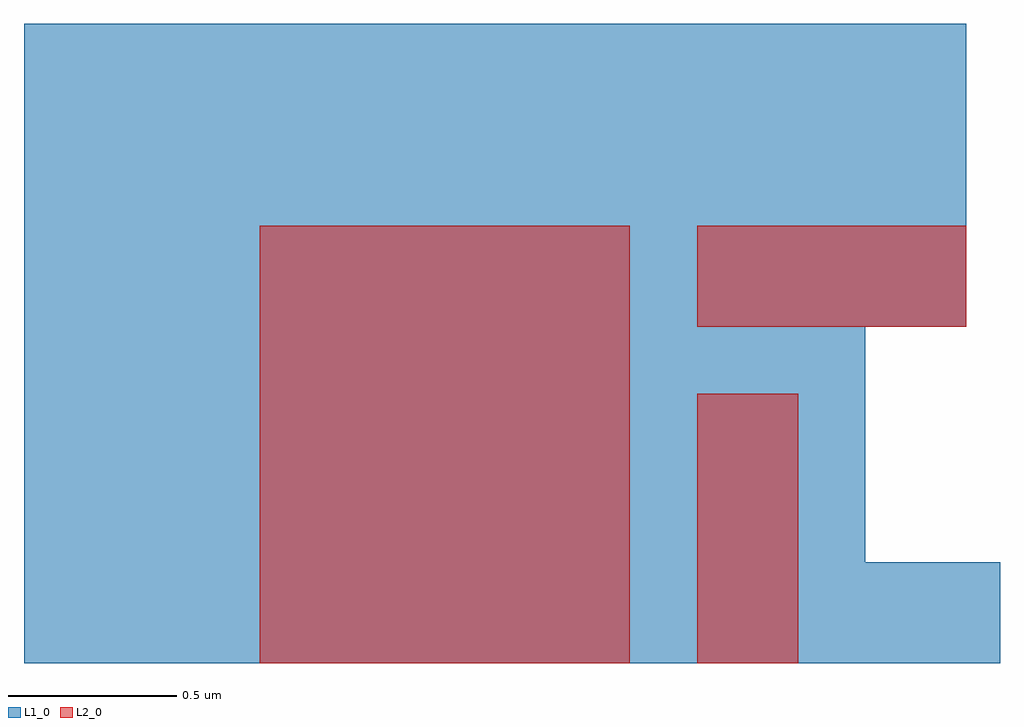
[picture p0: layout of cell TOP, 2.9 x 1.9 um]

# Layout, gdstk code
from math import pi, radians
import gdstk
lib = gdstk.Library(unit=1e-6, precision=1e-09)
def R(c, l, rs):  # rectangles x0, y0, x1, y1
    for r in rs: c.add(gdstk.rectangle(r[:2], r[2:], *l))
L1_0 = (1, 0)
L2_0 = (2, 0)

c_a = lib.new_cell('A')
R(c_a, L1_0, [(0,0,0.9,0.3)])
R(c_a, L2_0, [(0,0,0.3,0.8)])

top = lib.new_cell('TOP')
R(top, L1_0, [(0.2,0.2,2.7,2.1)])
R(top, L2_0, [(0.9,0.2,2,1.5)])
top.add(gdstk.Reference(c_a, (2.2,0.2)))
top.add(gdstk.Reference(c_a, (3,1.2), rotation=pi/2))

lib.write_gds('TOP.gds')
